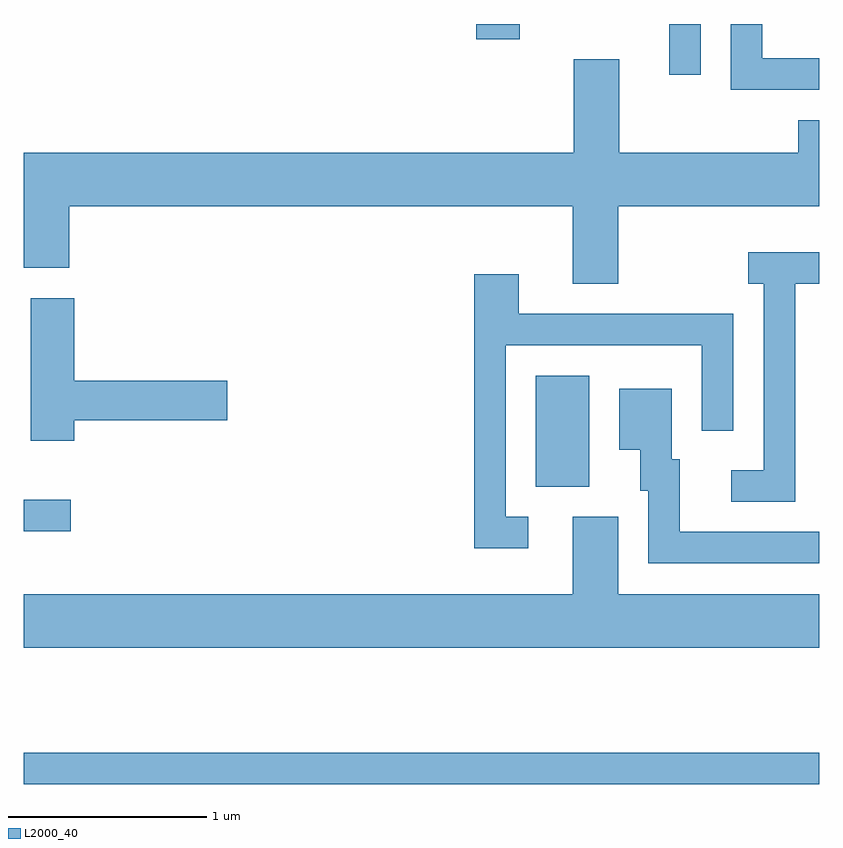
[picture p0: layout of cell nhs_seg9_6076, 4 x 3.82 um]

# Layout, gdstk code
import gdstk
lib = gdstk.Library(unit=1e-6, precision=1e-09)
def R(c, l, rs):  # rectangles x0, y0, x1, y1
    for r in rs: c.add(gdstk.rectangle(r[:2], r[2:], *l))
def P(c, l, *ps):  # polygons
    for p in ps: c.add(gdstk.Polygon(p, *l))
L2000_40 = (2000, 40)

nhs_seg9_6076 = lib.new_cell('nhs_seg9_6076')
R(nhs_seg9_6076, L2000_40, [(363.611,2066.611,367.611,2066.769), (363.611,2067.881,363.848,2068.039), (366.186,2068.106,366.454,2068.664), (366.856,2070.178,367.014,2070.432), (365.886,2070.356,366.104,2070.432)])
P(nhs_seg9_6076, L2000_40, [(367.611,2070.259),(367.324,2070.259),(367.324,2070.432),(367.166,2070.432),(367.166,2070.101),(367.611,2070.101)],
  [(366.599,2069.516),(367.611,2069.516),(367.611,2069.949),(367.506,2069.949),(367.506,2069.784),(366.604,2069.784),(366.604,2070.254),(366.376,2070.254),(366.376,2069.784),(363.611,2069.784),(363.611,2069.206),(363.839,2069.206),(363.839,2069.516),(366.371,2069.516),(366.371,2069.126),(366.599,2069.126)],
  [(367.489,2069.126),(367.611,2069.126),(367.611,2069.284),(367.253,2069.284),(367.253,2069.126),(367.331,2069.126),(367.331,2068.189),(367.168,2068.189),(367.168,2068.031),(367.489,2068.031)],
  [(366.148,2067.954),(366.034,2067.954),(366.034,2068.816),(367.021,2068.816),(367.021,2068.387),(367.179,2068.387),(367.179,2068.974),(366.099,2068.974),(366.099,2069.174),(365.876,2069.174),(365.876,2067.796),(366.148,2067.796)],
  [(363.864,2068.441),(364.634,2068.441),(364.634,2068.639),(363.864,2068.639),(363.864,2069.054),(363.646,2069.054),(363.646,2068.336),(363.864,2068.336)],
  [(367.611,2067.879),(366.909,2067.879),(366.909,2068.244),(366.869,2068.244),(366.869,2068.599),(366.606,2068.599),(366.606,2068.291),(366.711,2068.291),(366.711,2068.086),(366.751,2068.086),(366.751,2067.721),(367.611,2067.721)],
  [(367.611,2067.564),(366.599,2067.564),(366.599,2067.954),(366.371,2067.954),(366.371,2067.564),(363.611,2067.564),(363.611,2067.296),(367.611,2067.296)])

lib.write_gds('nhs_seg9_6076.gds')
